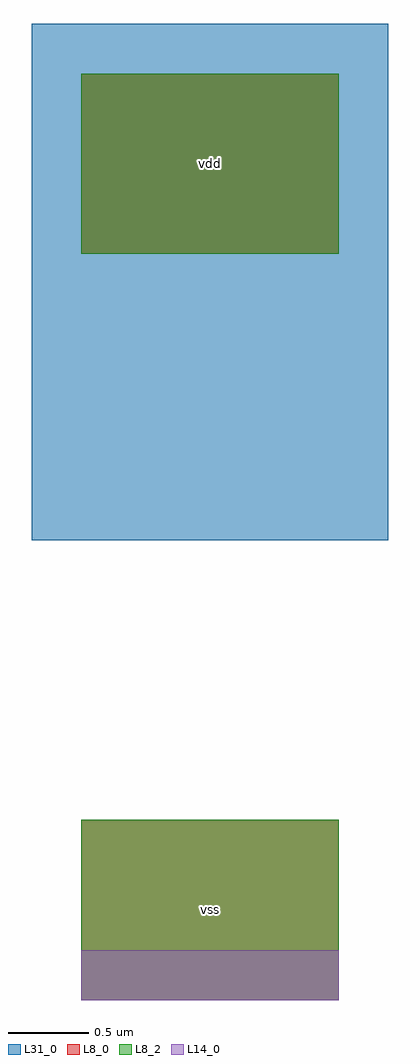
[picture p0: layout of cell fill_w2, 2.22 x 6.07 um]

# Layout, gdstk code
import gdstk
lib = gdstk.Library(unit=1e-6, precision=1e-09)
def R(c, l, rs):  # rectangles x0, y0, x1, y1
    for r in rs: c.add(gdstk.rectangle(r[:2], r[2:], *l))
L8_0 = (8, 0)
L8_2 = (8, 2)
L14_0 = (14, 0)
L31_0 = (31, 0)

fill_w2 = lib.new_cell('fill_w2')
R(fill_w2, L8_0, [(0,0,1.6,1.12), (0,4.64,1.6,5.76)])
R(fill_w2, L8_2, [(0,0,1.6,1.12), (0,4.64,1.6,5.76)])
R(fill_w2, L14_0, [(0,0,1.6,0.31)])
R(fill_w2, L31_0, [(-0.31,2.86,1.91,6.07)])
fill_w2.add(gdstk.Label('vdd', (0.8,5.2), layer=8, texttype=2))
fill_w2.add(gdstk.Label('vss', (0.8,0.56), layer=8, texttype=2))

lib.write_gds('fill_w2.gds')
